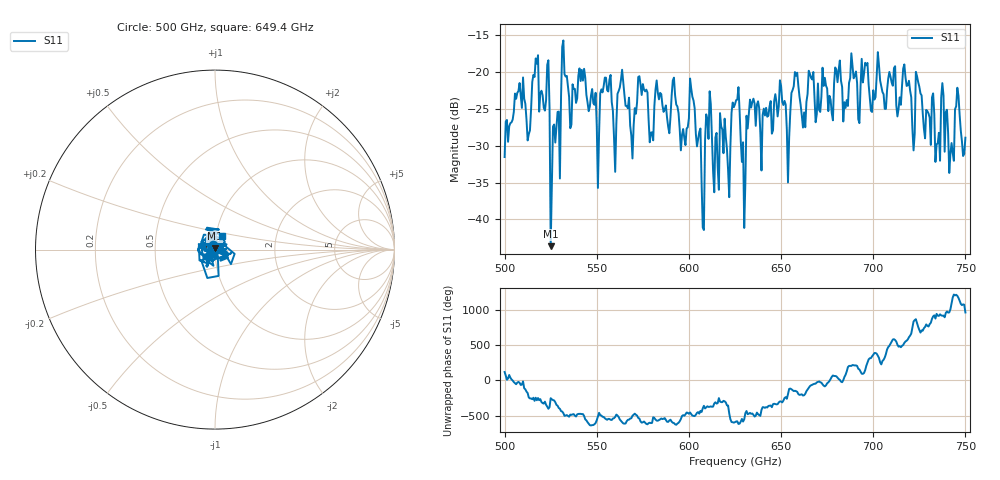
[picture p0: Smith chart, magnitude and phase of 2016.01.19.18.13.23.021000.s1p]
!Created with skrf (http://scikit-rf.org).
# GHz S RI R 50.0
!freq ReS11 ImS11
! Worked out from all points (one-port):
!   401 points, 500 GHz to 750 GHz, reference 50 ohm
!   lowest |S11| = -43.6 dB at 525 GHz (marker M1), VSWR 1.01, Z = 49.8 + j0.626 ohm
!   |S11| at or under -10 dB: start of sweep to end of sweep
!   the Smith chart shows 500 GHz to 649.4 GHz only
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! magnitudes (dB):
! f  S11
! 500 GHz  -31.5
! 506.9 GHz  -22.8
! 513.1 GHz  -28.4
! 516.9 GHz  -18.1
! 523.1 GHz  -19.0
! 525 GHz  -43.6
! 531.2 GHz  -16.6
! 541.9 GHz  -19.7
! 550 GHz  -27.3
! 556.2 GHz  -22.6
! 559.4 GHz  -29.0
! 562.5 GHz  -22.1
! 569.4 GHz  -31.7
! 573.8 GHz  -21.7
! 579.4 GHz  -28.2
! 593.8 GHz  -24.7
! 601.9 GHz  -23.3
! 607.5 GHz  -41.1
! 610.6 GHz  -29.1
! 621.2 GHz  -33.3
! 625 GHz  -24.4
! 629.4 GHz  -29.5
! 634.4 GHz  -24.1
! 653.8 GHz  -35.0
! 656.2 GHz  -22.4
! 687.5 GHz  -20.8
! 718.8 GHz  -21.8
! 750 GHz  -28.9
